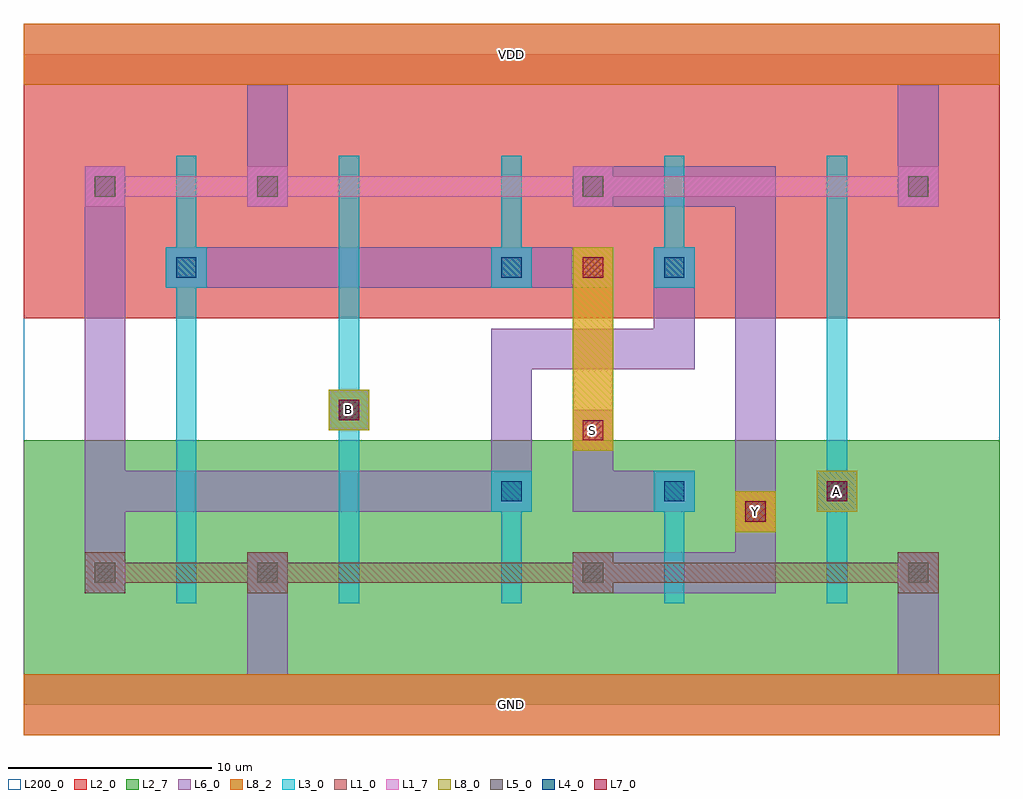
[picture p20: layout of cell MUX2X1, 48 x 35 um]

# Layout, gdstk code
import gdstk
lib = gdstk.Library(unit=1e-6, precision=1e-09)
def R(c, l, rs):  # rectangles x0, y0, x1, y1
    for r in rs: c.add(gdstk.rectangle(r[:2], r[2:], *l))
def A(c, l, x, y, w, h, nx, ny, dx, dy):  # array of equal rectangles
    R(c, l, [(x+i*dx, y+j*dy, x+i*dx+w, y+j*dy+h) for i in range(nx) for j in range(ny)])
def P(c, l, *ps):  # polygons
    for p in ps: c.add(gdstk.Polygon(p, *l))
L1_0 = (1, 0)
L1_7 = (1, 7)
L2_0 = (2, 0)
L2_7 = (2, 7)
L3_0 = (3, 0)
L4_0 = (4, 0)
L5_0 = (5, 0)
L6_0 = (6, 0)
L7_0 = (7, 0)
L8_0 = (8, 0)
L8_2 = (8, 2)
L200_0 = (200, 0)

mux2x1 = lib.new_cell('MUX2X1')
P(mux2x1, L1_0, [(3,5.5),(3,7.5),(5,7.5),(5,7),(11,7),(11,7.5),(13,7.5),(13,7),(27,7),(27,7.5),(29,7.5),(29,7),(43,7),(43,7.5),(45,7.5),(45,5.5),(43,5.5),(43,6),(29,6),(29,5.5),(27,5.5),(27,6),(13,6),(13,5.5),(11,5.5),(11,6),(5,6),(5,5.5)])
P(mux2x1, L1_7, [(3,24.5),(3,26.5),(5,26.5),(5,26),(11,26),(11,26.5),(13,26.5),(13,26),(27,26),(27,26.5),(29,26.5),(29,26),(43,26),(43,26.5),(45,26.5),(45,24.5),(43,24.5),(43,25),(29,25),(29,24.5),(27,24.5),(27,25),(13,25),(13,24.5),(11,24.5),(11,25),(5,25),(5,24.5)])
R(mux2x1, L2_0, [(0,19,48,32)])
R(mux2x1, L2_7, [(0,0,48,13)])
P(mux2x1, L3_0, [(23.5,5),(23.5,9.5),(23,9.5),(23,11.5),(25,11.5),(25,9.5),(24.5,9.5),(24.5,5)],
  [(31.5,5),(31.5,9.5),(31,9.5),(31,11.5),(33,11.5),(33,9.5),(32.5,9.5),(32.5,5)],
  [(7.5,5),(7.5,20.5),(7,20.5),(7,22.5),(7.5,22.5),(7.5,27),(8.5,27),(8.5,22.5),(9,22.5),(9,20.5),(8.5,20.5),(8.5,5)],
  [(15.5,5),(15.5,13.5),(15,13.5),(15,15.5),(15.5,15.5),(15.5,27),(16.5,27),(16.5,15.5),(17,15.5),(17,13.5),(16.5,13.5),(16.5,5)],
  [(23,20.5),(23,22.5),(23.5,22.5),(23.5,27),(24.5,27),(24.5,22.5),(25,22.5),(25,20.5)],
  [(31,20.5),(31,22.5),(31.5,22.5),(31.5,27),(32.5,27),(32.5,22.5),(33,22.5),(33,20.5)],
  [(39.5,5),(39.5,9.5),(39,9.5),(39,11.5),(39.5,11.5),(39.5,27),(40.5,27),(40.5,11.5),(41,11.5),(41,9.5),(40.5,9.5),(40.5,5)])
A(mux2x1, L4_0, 23.5, 10, 1, 1, 3, 1, 8, 0)
R(mux2x1, L4_0, [(15.5,14,16.5,15), (7.5,21,8.5,22), (23.5,21,24.5,22), (31.5,21,32.5,22)])
A(mux2x1, L5_0, 11.5, 6, 1, 1, 3, 2, 16, 19)
R(mux2x1, L5_0, [(3.5,6,4.5,7), (3.5,25,4.5,26)])
R(mux2x1, L6_0, [(39,9.5,41,11.5), (15,13.5,17,15.5), (7,20.5,29,22.5)])
P(mux2x1, L6_0, [(0,-1.5),(0,1.5),(11,1.5),(11,7.5),(13,7.5),(13,1.5),(43,1.5),(43,7.5),(45,7.5),(45,1.5),(48,1.5),(48,-1.5)],
  [(27,9.5),(27,14.5),(29,14.5),(29,11.5),(33,11.5),(33,9.5)],
  [(3,5.5),(3,26.5),(5,26.5),(5,11.5),(23,11.5),(23,18.5),(31,18.5),(31,22.5),(33,22.5),(33,16.5),(25,16.5),(25,9.5),(5,9.5),(5,5.5)],
  [(27,5.5),(27,7.5),(35,7.5),(35,24.5),(27,24.5),(27,26.5),(37,26.5),(37,5.5)],
  [(11,24.5),(11,30.5),(0,30.5),(0,33.5),(48,33.5),(48,30.5),(45,30.5),(45,24.5),(43,24.5),(43,30.5),(13,30.5),(13,24.5)])
R(mux2x1, L7_0, [(35.5,9,36.5,10), (39.5,10,40.5,11), (27.5,13,28.5,14), (15.5,14,16.5,15), (27.5,21,28.5,22)])
R(mux2x1, L8_0, [(35,8.5,37,10.5), (39,9.5,41,11.5), (27,12.5,29,22.5), (15,13.5,17,15.5)])
R(mux2x1, L8_2, [(35,8.5,37,10.5), (39,9.5,41,11.5), (27,12.5,29,22.5), (15,13.5,17,15.5)])
R(mux2x1, L200_0, [(0,0,48,32)])
mux2x1.add(gdstk.FlexPath([(0,32),(48,32)], 3, ends="flush", simple_path=True, layer=8, datatype=2))  # L8_2
mux2x1.add(gdstk.FlexPath([(0,0),(48,0)], 3, ends="flush", simple_path=True, layer=8, datatype=2))  # L8_2
mux2x1.add(gdstk.Label('GND', (24,0), layer=6, texttype=1))
mux2x1.add(gdstk.Label('VDD', (24,32), layer=6, texttype=1))
mux2x1.add(gdstk.Label('S', (28,13.5), layer=8, texttype=1))
mux2x1.add(gdstk.Label('B', (16,14.5), layer=8, texttype=1))
mux2x1.add(gdstk.Label('A', (40,10.5), layer=8, texttype=1))
mux2x1.add(gdstk.Label('Y', (36,9.5), layer=8, texttype=1))

lib.write_gds('MUX2X1.gds')
